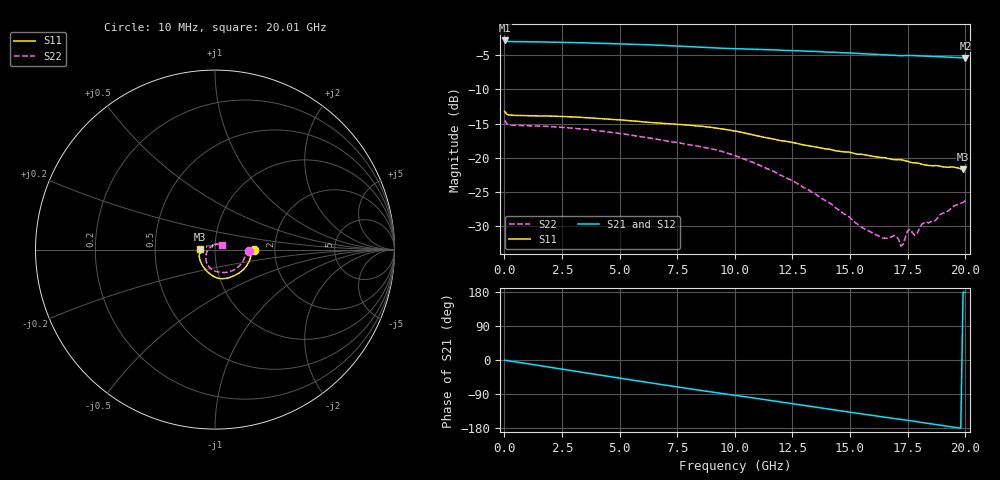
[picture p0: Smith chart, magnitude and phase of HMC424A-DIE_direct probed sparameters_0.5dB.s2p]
!s2p File: Measurements: S11, S21, S12, S22
# GHz S dB R 50.0
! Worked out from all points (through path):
!   201 points, 10 MHz to 20.01 GHz, reference 50 ohm
!   highest |S21| = -2.83 dB at 10 MHz (marker M1); lowest = -5.4 dB at 20.01 GHz (marker M2)
!   group delay of S21, straight-line fit = 25.1 ps
!   lowest |S11| = -21.7 dB at 19.91 GHz (marker M3), VSWR 1.18, Z = 42.4 + j0.0356 ohm
!   |S11| at or under -10 dB: start of sweep to end of sweep
!   |S22| runs from -33.0 to -14.5 dB; largest |S21 - S12| = 0.004
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0.01  -13.22 -1.3  -2.83 -0.5  -2.83 -0.5  -14.51 -1.5
0.31  -13.78 -3.4  -3.00 -3.3  -2.99 -3.3  -15.23 -4.4
1.81  -13.89 -15.1  -3.06 -17.6  -3.06 -17.6  -15.41 -19.5
3.41  -14.12 -28.3  -3.17 -32.8  -3.17 -32.8  -15.81 -36.4
5.11  -14.49 -42.5  -3.33 -48.8  -3.33 -48.8  -16.50 -54.1
6.71  -14.93 -55.5  -3.53 -63.8  -3.53 -63.8  -17.34 -70.2
8.41  -15.36 -70.5  -3.79 -79.3  -3.81 -79.3  -18.32 -87.9
10.01  -16.10 -87.2  -4.03 -93.2  -4.04 -93.2  -19.69 -107.8
13.41  -18.36 -118.4  -4.43 -123.5  -4.45 -123.4  -25.20 -152.7
15.51  -19.51 -137.7  -4.78 -142.2  -4.75 -142.0  -30.20 165.6
16.41  -19.97 -147.6  -4.92 -150.0  -4.91 -149.8  -31.74 137.2
16.71  -20.15 -151.3  -4.97 -152.6  -4.96 -152.5  -31.68 128.1
17.01  -20.30 -153.4  -5.03 -155.0  -4.99 -155.0  -31.51 110.8
17.21  -20.30 -155.7  -5.06 -156.6  -5.02 -156.7  -32.96 103.9
17.31  -20.36 -157.2  -5.06 -157.5  -5.04 -157.6  -32.62 107.3
17.51  -20.55 -159.4  -5.04 -159.2  -5.06 -159.4  -30.66 100.2
17.61  -20.65 -160.2  -5.03 -160.0  -5.07 -160.3  -30.48 91.9
17.81  -20.75 -161.2  -5.06 -161.9  -5.09 -162.0  -31.39 82.5
18.11  -20.95 -164.7  -5.10 -164.9  -5.14 -164.6  -29.78 78.3
18.61  -21.19 -169.2  -5.19 -169.2  -5.19 -169.0  -29.39 61.1
19.91  -21.68 179.7  -5.36 179.1  -5.36 179.3  -26.55 37.1
20.01  -21.68 179.1  -5.38 178.3  -5.37 178.4  -26.28 34.8
